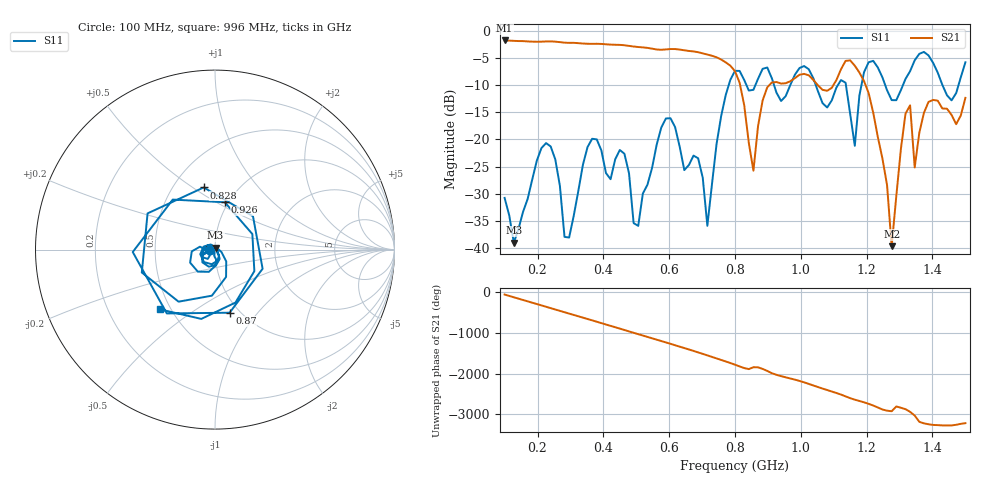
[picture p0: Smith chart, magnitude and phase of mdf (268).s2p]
! NanoVNA-App
! Date: 2025-09-25 15:40:30
! Start: 100MHz Stop: 1,5GHz Points: 101
! S-Parameter data: F S11 S21 S12 S22
# Hz S RI R 50
!  Frequency  S11_Real  S11_Imag  S21_Real  S21_Imag  S12_Real  S12_Imag  S22_Real  S22_Imag
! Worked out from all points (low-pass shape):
!   101 points, 100 MHz to 1.5 GHz, reference 50 ohm
!   highest |S21| = -1.80 dB at 100 MHz (marker M1); lowest = -39.6 dB at 1.276 GHz (marker M2)
!   |S21| within 3 dB of the highest: start of sweep to 739.3 MHz
!   lowest |S11| = -39.0 dB at 128 MHz (marker M3), VSWR 1.02, Z = 50.3 + j1.08 ohm
!   |S11| at or under -10 dB: start of sweep to 781 MHz; 1.045 GHz to 1.113 GHz (67.46 MHz wide, 6.25 % of centre); 1.256 GHz to 1.31 GHz (54.12 MHz wide, 4.22 % of centre) (the widest 3 of 7)
!   S12 and S22 are empty: the file has one direction only
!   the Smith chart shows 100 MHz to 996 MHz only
!   S11 on the Smith chart (normalised r, x): 100 MHz: 0.94, -0.01; 828 MHz: 0.70, +0.55; 870 MHz: 0.90, -0.73; 926 MHz: 0.96, +0.55; 996 MHz: 0.44, -0.37
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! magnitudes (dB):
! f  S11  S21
! 100 MHz  -30.8  -1.8
! 128 MHz  -39.0  -1.9
! 212 MHz  -21.6  -2.0
! 282 MHz  -37.9  -2.2
! 338 MHz  -24.6  -2.4
! 464 MHz  -22.6  -2.7
! 506 MHz  -35.9  -3.0
! 576 MHz  -17.8  -3.5
! 716 MHz  -35.9  -4.4
! 800 MHz  -7.4  -7.5
! 828 MHz  -9.1  -13.7
! 856 MHz  -10.9  -25.8
! 870 MHz  -8.9  -17.6
! 926 MHz  -11.4  -9.4
! 996 MHz  -6.9  -8.1
! 1.038 GHz  -8.7  -9.1
! 1.164 GHz  -21.2  -6.4
! 1.192 GHz  -7.7  -9.3
! 1.276 GHz  -12.8  -39.6
! 1.318 GHz  -8.9  -15.3
! 1.346 GHz  -5.4  -25.2
! 1.5 GHz  -5.8  -12.4
